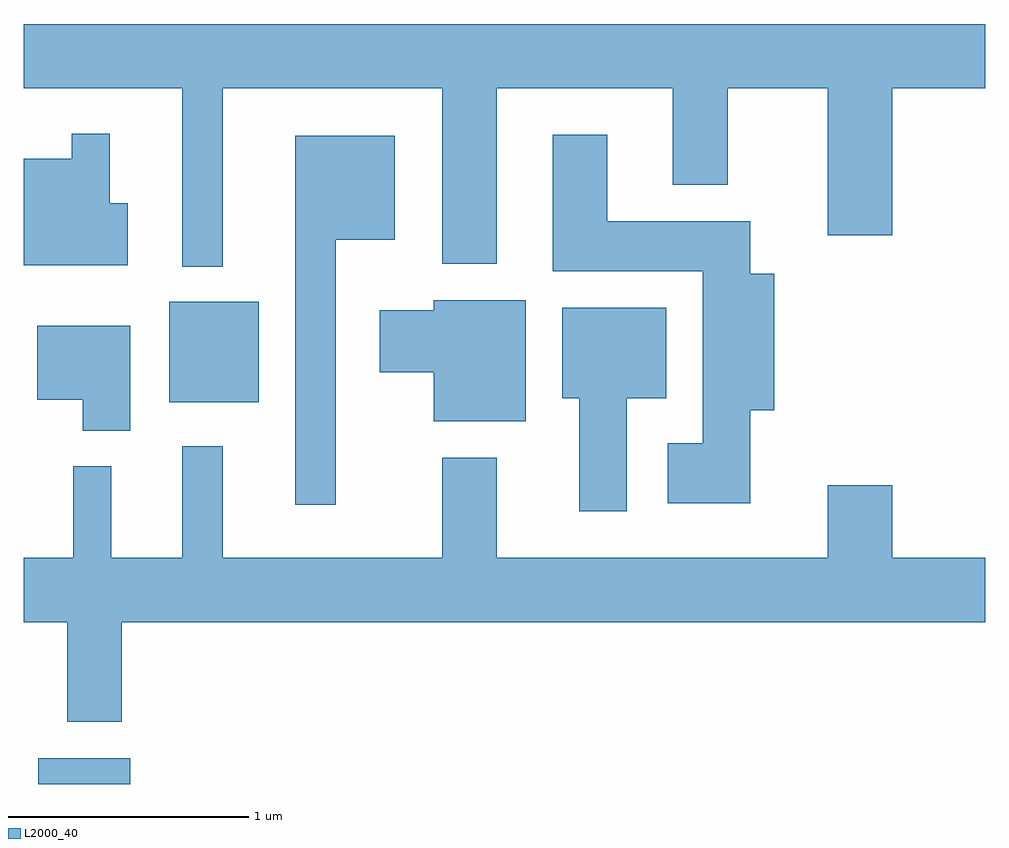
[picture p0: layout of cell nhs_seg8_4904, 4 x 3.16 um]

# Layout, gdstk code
import gdstk
lib = gdstk.Library(unit=1e-6, precision=1e-09)
def R(c, l, rs):  # rectangles x0, y0, x1, y1
    for r in rs: c.add(gdstk.rectangle(r[:2], r[2:], *l))
def P(c, l, *ps):  # polygons
    for p in ps: c.add(gdstk.Polygon(p, *l))
L2000_40 = (2000, 40)

nhs_seg8_4904 = lib.new_cell('nhs_seg8_4904')
R(nhs_seg8_4904, L2000_40, [(331.671,1902.342,332.054,1902.449), (332.216,1903.931,332.589,1904.349)])
P(nhs_seg8_4904, L2000_40, [(332.439,1905.236),(333.351,1905.236),(333.351,1904.506),(333.579,1904.506),(333.579,1905.236),(334.311,1905.236),(334.311,1904.836),(334.539,1904.836),(334.539,1905.236),(334.956,1905.236),(334.956,1904.626),(335.224,1904.626),(335.224,1905.236),(335.611,1905.236),(335.611,1905.504),(331.611,1905.504),(331.611,1905.236),(332.271,1905.236),(332.271,1904.493),(332.439,1904.493)],
  [(332.044,1904.759),(331.969,1904.759),(331.969,1905.048),(331.811,1905.048),(331.811,1904.944),(331.611,1904.944),(331.611,1904.501),(332.044,1904.501)],
  [(334.634,1903.896),(334.734,1903.896),(334.734,1904.464),(334.634,1904.464),(334.634,1904.684),(334.039,1904.684),(334.039,1905.044),(333.811,1905.044),(333.811,1904.476),(334.436,1904.476),(334.436,1903.759),(334.291,1903.759),(334.291,1903.511),(334.634,1903.511)],
  [(332.909,1904.606),(333.154,1904.606),(333.154,1905.039),(332.741,1905.039),(332.741,1903.503),(332.909,1903.503)],
  [(333.699,1904.354),(333.316,1904.354),(333.316,1904.314),(333.091,1904.314),(333.091,1904.056),(333.316,1904.056),(333.316,1903.851),(333.699,1903.851)],
  [(334.119,1903.946),(334.284,1903.946),(334.284,1904.324),(333.851,1904.324),(333.851,1903.946),(333.921,1903.946),(333.921,1903.476),(334.119,1903.476)],
  [(332.054,1904.249),(331.666,1904.249),(331.666,1903.941),(331.856,1903.941),(331.856,1903.811),(332.054,1903.811)],
  [(331.816,1903.663),(331.816,1903.284),(331.611,1903.284),(331.611,1903.016),(331.791,1903.016),(331.791,1902.601),(332.019,1902.601),(332.019,1903.016),(335.611,1903.016),(335.611,1903.284),(335.224,1903.284),(335.224,1903.584),(334.956,1903.584),(334.956,1903.284),(333.579,1903.284),(333.579,1903.699),(333.351,1903.699),(333.351,1903.284),(332.439,1903.284),(332.439,1903.748),(332.271,1903.748),(332.271,1903.284),(331.974,1903.284),(331.974,1903.663)])

lib.write_gds('nhs_seg8_4904.gds')
